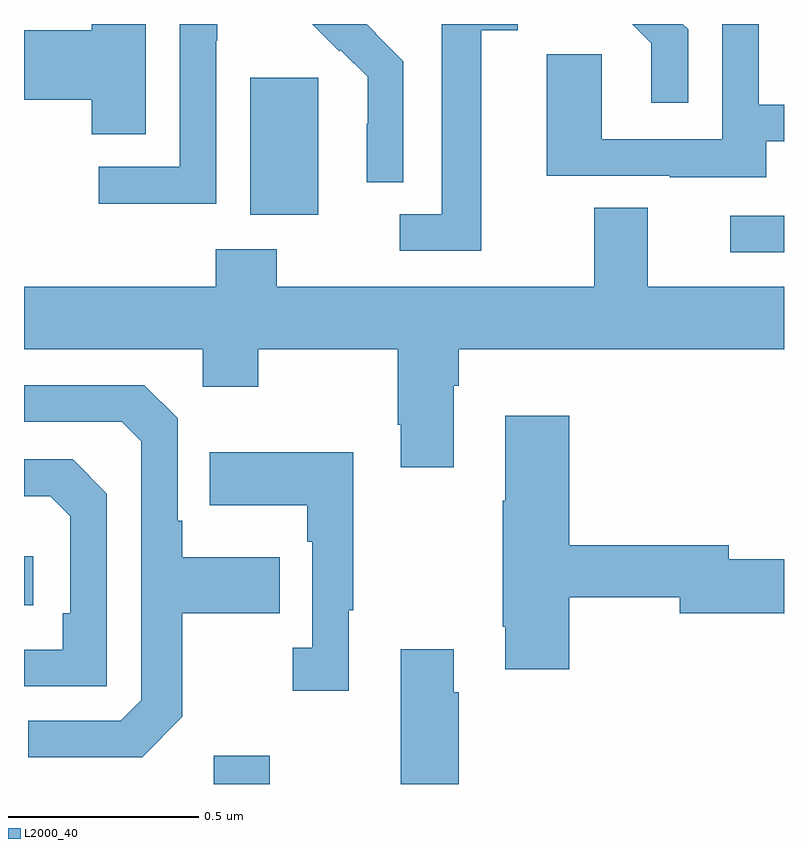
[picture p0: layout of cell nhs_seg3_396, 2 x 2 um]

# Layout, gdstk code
import gdstk
lib = gdstk.Library(unit=1e-6, precision=1e-09)
def R(c, l, rs):  # rectangles x0, y0, x1, y1
    for r in rs: c.add(gdstk.rectangle(r[:2], r[2:], *l))
def P(c, l, *ps):  # polygons
    for p in ps: c.add(gdstk.Polygon(p, *l))
L2000_40 = (2000, 40)

nhs_seg3_396 = lib.new_cell('nhs_seg3_396')
R(nhs_seg3_396, L2000_40, [(115.499,738.4,115.647,738.475), (115,738.87,115.024,739), (116.859,739.8,117,739.896), (115.595,739.898,115.774,740.259)])
P(nhs_seg3_396, L2000_40, [(115.998,740.302),(115.925,740.375),(115.926,740.376),(115.902,740.4),(115.758,740.4),(115.83,740.328),(115.833,740.331),(115.904,740.261),(115.904,740.138),(115.902,740.138),(115.902,739.984),(115.998,739.984)],
  [(115.506,740.356),(115.509,740.356),(115.509,740.4),(115.41,740.4),(115.41,740.025),(115.197,740.025),(115.197,739.927),(115.506,739.927)],
  [(116.748,740.386),(116.734,740.4),(116.6,740.4),(116.651,740.349),(116.651,740.193),(116.748,740.193)],
  [(116.203,740.384),(116.299,740.384),(116.299,740.4),(116.099,740.4),(116.099,739.899),(115.989,739.899),(115.989,739.803),(116.203,739.803)],
  [(116.953,740.091),(117,740.091),(117,740.187),(116.934,740.187),(116.934,740.4),(116.838,740.4),(116.838,740.097),(116.52,740.097),(116.52,740.321),(116.375,740.321),(116.375,740.001),(116.699,740.001),(116.699,739.997),(116.953,739.997)],
  [(115.321,740.4),(115.178,740.4),(115.178,740.384),(115,740.384),(115,740.201),(115.178,740.201),(115.178,740.11),(115.321,740.11)],
  [(116.131,739.448),(116.144,739.448),(116.144,739.544),(117,739.544),(117,739.708),(116.641,739.708),(116.641,739.916),(116.501,739.916),(116.501,739.708),(115.665,739.708),(115.665,739.807),(115.505,739.807),(115.505,739.708),(115,739.708),(115,739.544),(115.47,739.544),(115.47,739.445),(115.617,739.445),(115.617,739.544),(115.984,739.544),(115.984,739.345),(115.991,739.345),(115.991,739.233),(116.131,739.233)],
  [(115.417,738.577),(115.417,738.85),(115.673,738.85),(115.673,738.997),(115.417,738.997),(115.417,739.093),(115.404,739.093),(115.404,739.362),(115.317,739.449),(115,739.449),(115,739.353),(115.257,739.353),(115.308,739.302),(115.308,738.621),(115.254,738.567),(115.011,738.567),(115.011,738.471),(115.311,738.471)],
  [(116.435,738.892),(116.726,738.892),(116.726,738.85),(117,738.85),(117,738.992),(116.854,738.992),(116.854,739.028),(116.435,739.028),(116.435,739.369),(116.267,739.369),(116.267,739.145),(116.26,739.145),(116.26,738.814),(116.267,738.814),(116.267,738.702),(116.435,738.702)],
  [(115.855,738.857),(115.867,738.857),(115.867,739.273),(115.489,739.273),(115.489,739.133),(115.746,739.133),(115.746,739.037),(115.758,739.037),(115.758,738.758),(115.707,738.758),(115.707,738.645),(115.855,738.645)],
  [(115.218,739.164),(115.128,739.254),(115,739.254),(115,739.157),(115.069,739.157),(115.122,739.104),(115.122,738.85),(115.102,738.85),(115.102,738.753),(115,738.753),(115,738.657),(115.218,738.657)],
  [(116.144,738.641),(116.131,738.641),(116.131,738.754),(115.991,738.754),(115.991,738.4),(116.144,738.4)])

lib.write_gds('nhs_seg3_396.gds')
